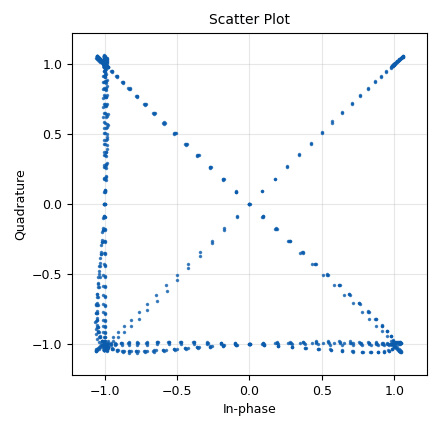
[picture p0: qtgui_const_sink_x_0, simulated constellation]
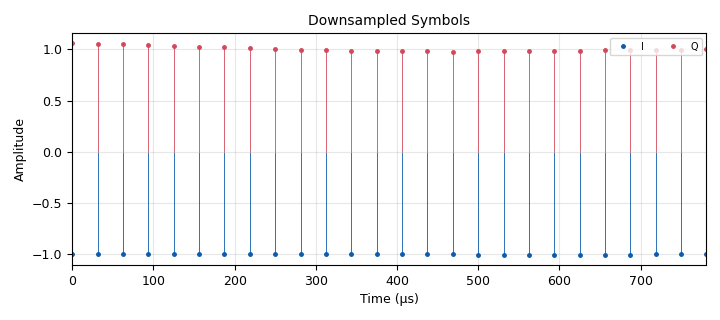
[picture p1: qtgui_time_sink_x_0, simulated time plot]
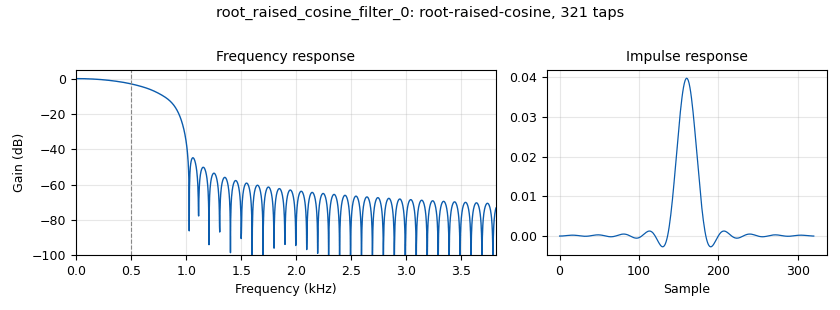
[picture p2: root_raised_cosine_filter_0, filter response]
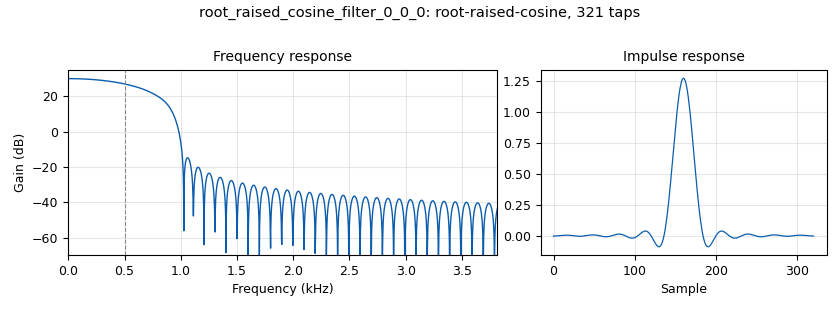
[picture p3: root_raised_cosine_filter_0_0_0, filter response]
options:
  parameters:
    author: Qasim Chaudhari
    generate_options: qt_gui
    id: effect_phase_offset
    output_language: python
    title: Effect of Phase Offset
  states: {}

blocks:
- name: downsample_delay
  id: variable
  parameters:
    value: '1'
  states: {}
- name: excess_bw
  id: variable_qtgui_chooser
  parameters:
    gui_hint: 0,0,1,1
    label: Excess Bandwidth
    label0: '1'
    label1: '0.5'
    label2: '0.1'
    num_opts: '3'
    option1: '0.5'
    option2: '0.1'
    orient: Qt.QHBoxLayout
    type: real
    value: '1'
    widget: radio_buttons
  states: {}
- name: phase_offset
  id: variable_qtgui_range
  parameters:
    gui_hint: 0,1,1,2
    label: Phase Offset
    orient: Qt.Horizontal
    start: '-180'
    step: '1'
    stop: '180'
    value: '0'
  states: {}
- name: samp_per_sym
  id: variable
  parameters:
    value: '32'
  states: {}
- name: samp_rate
  id: variable
  parameters:
    value: '32000'
  states: {}
- name: analog_random_source_x_0
  id: analog_random_source_x
  parameters:
    comment: Bits Generation
    max: '2'
    min: '0'
    num_samps: '10000'
    repeat: 'True'
    type: byte
  states: {}
- name: blocks_char_to_float_0
  id: blocks_char_to_float
  parameters:
    scale: '1'
  states: {}
- name: blocks_char_to_float_0_0
  id: blocks_char_to_float
  parameters:
    scale: '1'
  states: {}
- name: blocks_complex_to_imag_0
  id: blocks_complex_to_imag
  parameters: {}
  states: {}
- name: blocks_float_to_complex_1
  id: blocks_float_to_complex
  parameters: {}
  states: {}
- name: blocks_keep_one_in_n_0
  id: blocks_keep_one_in_n
  parameters:
    n: samp_per_sym
    type: complex
  states: {state: bypassed}
- name: blocks_multiply_const_vxx_0
  id: blocks_multiply_const_vxx
  parameters:
    comment: Phase Rotation
    const: complex(math.cos(phase_offset*math.pi/180),math.sin(phase_offset*math.pi/180))
    type: complex
  states: {}
- name: blocks_pack_k_bits_bb_0
  id: blocks_pack_k_bits_bb
  parameters:
    k: int(np.log2(4))
  states: {}
- name: blocks_skiphead_0
  id: blocks_skiphead
  parameters:
    num_items: downsample_delay
    type: complex
  states: {}
- name: blocks_throttle_0
  id: blocks_throttle
  parameters:
    samples_per_second: samp_rate
    type: byte
  states: {}
- name: digital_map_bb_0
  id: digital_map_bb
  parameters:
    comment: Look-Up Table I
    map: (1,-1,1,-1)
  states: {}
- name: digital_map_bb_0_0
  id: digital_map_bb
  parameters:
    comment: Look-Up Table Q
    map: (1,1,-1,-1)
  states: {}
- name: import_0
  id: import
  parameters:
    imports: import numpy as np; import math
  states: {}
- name: note_0_1
  id: note
  parameters:
    note: Downsampler
  states: {}
- name: qEye_0
  id: qEye
  parameters:
    alias: Q Eye
    comment: Q Eye
    eye_string: '''Q Eye Diagram'''
    gui_hint: 1,2,1,1
    nEyes: '2'
    samp_per_sym: samp_per_sym
    samp_rate: samp_rate
    ymax: '1.5'
    ymin: '-1.5'
  states: {}
- name: qtgui_const_sink_x_0
  id: qtgui_const_sink_x
  parameters:
    autoscale: 'True'
    grid: 'True'
    gui_hint: 1,1,1,1
    legend: 'False'
    name: Scatter Plot
    size: '1000'
    type: complex
  states: {}
- name: qtgui_time_sink_x_0
  id: qtgui_time_sink_x
  parameters:
    autoscale: 'True'
    grid: 'True'
    gui_hint: 1,0,1,1
    label1: I
    label2: Q
    marker1: '0'
    marker2: '1'
    name: Downsampled Symbols
    size: '26'
    srate: samp_rate
    stemplot: 'True'
    type: complex
    width1: '2'
  states: {}
- name: root_raised_cosine_filter_0
  id: root_raised_cosine_filter
  parameters:
    alpha: excess_bw
    comment: Matched Filter
    decim: '1'
    gain: '1'
    ntaps: 10*samp_per_sym+1
    samp_rate: samp_rate
    sym_rate: samp_rate/samp_per_sym
    type: fir_filter_ccf
  states: {}
- name: root_raised_cosine_filter_0_0_0
  id: root_raised_cosine_filter
  parameters:
    alpha: excess_bw
    comment: Pulse Shaping Filter
    gain: samp_per_sym
    interp: samp_per_sym
    ntaps: 10*samp_per_sym+1
    samp_rate: samp_rate
    sym_rate: samp_rate/samp_per_sym
    type: interp_fir_filter_ccf
  states: {}

connections:
- [analog_random_source_x_0, '0', blocks_throttle_0, '0']
- [blocks_char_to_float_0, '0', blocks_float_to_complex_1, '0']
- [blocks_char_to_float_0_0, '0', blocks_float_to_complex_1, '1']
- [blocks_complex_to_imag_0, '0', qEye_0, '0']
- [blocks_float_to_complex_1, '0', root_raised_cosine_filter_0_0_0, '0']
- [blocks_keep_one_in_n_0, '0', qtgui_const_sink_x_0, '0']
- [blocks_keep_one_in_n_0, '0', qtgui_time_sink_x_0, '0']
- [blocks_multiply_const_vxx_0, '0', root_raised_cosine_filter_0, '0']
- [blocks_pack_k_bits_bb_0, '0', digital_map_bb_0, '0']
- [blocks_pack_k_bits_bb_0, '0', digital_map_bb_0_0, '0']
- [blocks_skiphead_0, '0', blocks_keep_one_in_n_0, '0']
- [blocks_throttle_0, '0', blocks_pack_k_bits_bb_0, '0']
- [digital_map_bb_0, '0', blocks_char_to_float_0, '0']
- [digital_map_bb_0_0, '0', blocks_char_to_float_0_0, '0']
- [root_raised_cosine_filter_0, '0', blocks_complex_to_imag_0, '0']
- [root_raised_cosine_filter_0, '0', blocks_skiphead_0, '0']
- [root_raised_cosine_filter_0_0_0, '0', blocks_multiply_const_vxx_0, '0']

metadata:
  file_format: 1
